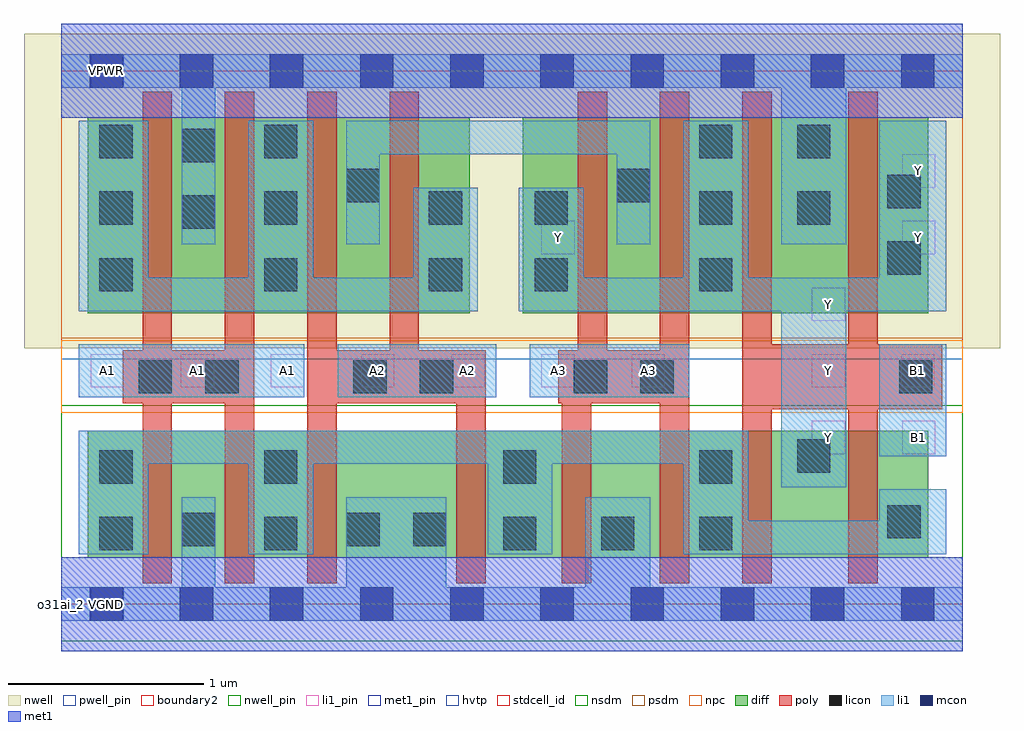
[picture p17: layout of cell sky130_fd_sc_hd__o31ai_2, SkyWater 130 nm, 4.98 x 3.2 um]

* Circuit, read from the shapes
.subckt sky130_fd_sc_hd__o31ai_2 A1 A2 A3 B1 VGND VNB VPB VPWR Y
XM1 VGND A1 n1 VNB sky130_fd_pr__nfet_01v8 w=0.65 l=0.15 m=2
XM2 VGND A2 n1 VNB sky130_fd_pr__nfet_01v8 w=0.65 l=0.15 m=2
XM3 VGND A3 n1 VNB sky130_fd_pr__nfet_01v8 w=0.65 l=0.15 m=2
XM4 Y B1 n1 VNB sky130_fd_pr__nfet_01v8 w=0.65 l=0.15 m=2
XM5 VPWR A1 n2 VPB sky130_fd_pr__pfet_01v8_hvt w=1 l=0.15 m=2
XM6 n3 A2 n2 VPB sky130_fd_pr__pfet_01v8_hvt w=1 l=0.15 m=2
XM7 n3 A3 Y VPB sky130_fd_pr__pfet_01v8_hvt w=1 l=0.15 m=2
XM8 VPWR B1 Y VPB sky130_fd_pr__pfet_01v8_hvt w=1 l=0.15 m=2
.ends

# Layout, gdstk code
import gdstk
lib = gdstk.Library(unit=1e-6, precision=1e-09)
def R(c, l, rs):  # rectangles x0, y0, x1, y1
    for r in rs: c.add(gdstk.rectangle(r[:2], r[2:], *l))
def A(c, l, x, y, w, h, nx, ny, dx, dy):  # array of equal rectangles
    R(c, l, [(x+i*dx, y+j*dy, x+i*dx+w, y+j*dy+h) for i in range(nx) for j in range(ny)])
def P(c, l, *ps):  # polygons
    for p in ps: c.add(gdstk.Polygon(p, *l))
nwell_pin = (64, 16)
nwell = (64, 20)
diff = (65, 20)
poly = (66, 20)
licon = (66, 44)
li1_pin = (67, 16)
li1 = (67, 20)
mcon = (67, 44)
met1_pin = (68, 16)
met1 = (68, 20)
hvtp = (78, 44)
stdcell_id = (81, 4)
nsdm = (93, 44)
psdm = (94, 20)
npc = (95, 20)
pwell_pin = (122, 16)
boundary2 = (236, 0)

sky130_fd_sc_hd__o31ai_2 = lib.new_cell('sky130_fd_sc_hd__o31ai_2')
R(sky130_fd_sc_hd__o31ai_2, nwell_pin, [(0.15,2.635,0.32,2.805)])
R(sky130_fd_sc_hd__o31ai_2, nwell, [(-0.19,1.305,4.79,2.91)])
R(sky130_fd_sc_hd__o31ai_2, diff, [(0.135,0.235,4.425,0.885), (0.135,1.485,2.085,2.485), (2.355,1.485,4.425,2.485)])
P(sky130_fd_sc_hd__o31ai_2, poly, [(3.475,0.105),(3.475,2.615),(3.625,2.615),(3.625,1.325),(4.015,1.325),(4.015,2.615),(4.165,2.615),(4.165,1.325),(4.495,1.325),(4.495,0.995),(4.165,0.995),(4.165,0.105),(4.015,0.105),(4.015,0.995),(3.625,0.995),(3.625,0.105)],
  [(2.555,0.105),(2.555,1.025),(2.535,1.025),(2.535,1.295),(2.635,1.295),(2.635,2.615),(2.785,2.615),(2.785,1.295),(3.055,1.295),(3.055,2.615),(3.205,2.615),(3.205,0.105),(3.055,0.105),(3.055,1.025),(2.705,1.025),(2.705,0.105)],
  [(1.255,0.105),(1.255,2.615),(1.405,2.615),(1.405,1.295),(1.675,1.295),(1.675,2.615),(1.825,2.615),(1.825,1.295),(2.165,1.295),(2.165,0.105),(2.015,0.105),(2.015,1.025),(1.405,1.025),(1.405,0.105)],
  [(0.415,0.105),(0.415,1.025),(0.315,1.025),(0.315,1.295),(0.415,1.295),(0.415,2.615),(0.565,2.615),(0.565,1.295),(0.835,1.295),(0.835,2.615),(0.985,2.615),(0.985,0.105),(0.835,0.105),(0.835,1.025),(0.565,1.025),(0.565,0.105)])
A(sky130_fd_sc_hd__o31ai_2, licon, 2.255, 0.275, 0.17, 0.17, 3, 1, 0.5, 0)
A(sky130_fd_sc_hd__o31ai_2, licon, 0.195, 1.595, 0.17, 0.17, 3, 2, 0.84, 0.34)
A(sky130_fd_sc_hd__o31ai_2, licon, 3.255, 1.595, 0.17, 0.17, 1, 3, 0, 0.34)
R(sky130_fd_sc_hd__o31ai_2, licon, [(0.195,0.275,0.365,0.445), (1.035,0.275,1.205,0.445), (0.615,0.295,0.785,0.465), (1.455,0.295,1.625,0.465), (1.795,0.295,1.965,0.465), (4.215,0.335,4.385,0.505), (0.195,0.615,0.365,0.785), (1.035,0.615,1.205,0.785), (2.255,0.615,2.425,0.785), (3.255,0.615,3.425,0.785), (3.755,0.67,3.925,0.84), (0.395,1.075,0.565,1.245), (0.735,1.075,0.905,1.245), (1.49,1.075,1.66,1.245), (1.83,1.075,2,1.245), (2.615,1.075,2.785,1.245), (2.955,1.075,3.125,1.245), (4.275,1.075,4.445,1.245), (2.415,1.595,2.585,1.765), (4.215,1.68,4.385,1.85), (0.615,1.915,0.785,2.085), (2.415,1.935,2.585,2.105), (3.755,1.935,3.925,2.105), (4.215,2.02,4.385,2.19), (1.455,2.05,1.625,2.22), (2.835,2.05,3.005,2.22), (0.615,2.255,0.785,2.425), (0.195,2.275,0.365,2.445), (1.035,2.275,1.205,2.445), (3.755,2.275,3.925,2.445)])
A(sky130_fd_sc_hd__o31ai_2, li1_pin, 3.83, 0.765, 0.17, 0.17, 1, 3, 0, 0.34)
A(sky130_fd_sc_hd__o31ai_2, li1_pin, 0.15, 1.105, 0.17, 0.17, 7, 1, 0.46, 0)
R(sky130_fd_sc_hd__o31ai_2, li1_pin, [(4.29,0.765,4.46,0.935), (4.285,1.105,4.455,1.275), (2.45,1.785,2.62,1.955), (4.29,1.785,4.46,1.955), (4.29,2.125,4.46,2.295)])
R(sky130_fd_sc_hd__o31ai_2, li1, [(4.175,0.755,4.515,1.325), (0.09,1.055,1.24,1.325), (1.41,1.055,2.22,1.325), (2.39,1.055,3.205,1.325)])
P(sky130_fd_sc_hd__o31ai_2, li1, [(3.675,0.595),(3.675,1.495),(2.335,1.495),(2.335,2.125),(2.665,2.125),(2.665,1.665),(3.175,1.665),(3.175,2.465),(3.505,2.465),(3.505,1.665),(4.175,1.665),(4.175,2.465),(4.515,2.465),(4.515,1.495),(4.005,1.495),(4.005,0.595)],
  [(0.615,1.835),(0.615,2.635),(0,2.635),(0,2.805),(4.6,2.805),(4.6,2.635),(4.005,2.635),(4.005,1.835),(3.675,1.835),(3.675,2.635),(0.785,2.635),(0.785,1.835)],
  [(0.09,0.255),(0.09,0.885),(3.505,0.885),(3.505,0.425),(4.175,0.425),(4.175,0.585),(4.515,0.585),(4.515,0.255),(3.175,0.255),(3.175,0.715),(2.505,0.715),(2.505,0.255),(2.175,0.255),(2.175,0.715),(1.285,0.715),(1.285,0.255),(0.955,0.255),(0.955,0.715),(0.445,0.715),(0.445,0.255)],
  [(0,-0.085),(0,0.085),(0.615,0.085),(0.615,0.545),(0.785,0.545),(0.785,0.085),(1.455,0.085),(1.455,0.545),(1.965,0.545),(1.965,0.085),(2.675,0.085),(2.675,0.545),(3.005,0.545),(3.005,0.085),(4.6,0.085),(4.6,-0.085)],
  [(0.09,1.495),(0.09,2.465),(0.445,2.465),(0.445,1.665),(0.955,1.665),(0.955,2.465),(1.285,2.465),(1.285,1.665),(1.795,1.665),(1.795,2.125),(2.125,2.125),(2.125,1.495)],
  [(1.455,1.835),(1.455,2.465),(3.005,2.465),(3.005,1.835),(2.835,1.835),(2.835,2.295),(1.625,2.295),(1.625,1.835)])
A(sky130_fd_sc_hd__o31ai_2, mcon, 0.145, -0.085, 0.17, 0.17, 10, 2, 0.46, 2.72)
R(sky130_fd_sc_hd__o31ai_2, met1_pin, [(0.15,-0.085,0.32,0.085), (0.15,2.635,0.32,2.805)])
R(sky130_fd_sc_hd__o31ai_2, hvtp, [(0,1.25,4.6,2.72)])
R(sky130_fd_sc_hd__o31ai_2, stdcell_id, [(0,0,4.6,2.72)])
R(sky130_fd_sc_hd__o31ai_2, nsdm, [(0,-0.19,4.6,1.015)])
R(sky130_fd_sc_hd__o31ai_2, psdm, [(0,1.355,4.6,2.91)])
R(sky130_fd_sc_hd__o31ai_2, npc, [(0,0.975,4.6,1.345)])
R(sky130_fd_sc_hd__o31ai_2, pwell_pin, [(0.15,-0.085,0.32,0.085)])
R(sky130_fd_sc_hd__o31ai_2, boundary2, [(0,0,4.6,2.72)])
sky130_fd_sc_hd__o31ai_2.add(gdstk.FlexPath([(0,2.72),(4.6,2.72)], 0.48, ends="flush", simple_path=True, layer=68, datatype=20))  # met1
sky130_fd_sc_hd__o31ai_2.add(gdstk.FlexPath([(0,0),(4.6,0)], 0.48, ends="flush", simple_path=True, layer=68, datatype=20))  # met1
sky130_fd_sc_hd__o31ai_2.add(gdstk.Label('A1', (0.695,1.19), layer=67, texttype=5))
sky130_fd_sc_hd__o31ai_2.add(gdstk.Label('A1', (0.235,1.19), layer=67, texttype=5))
sky130_fd_sc_hd__o31ai_2.add(gdstk.Label('Y', (4.375,2.21), layer=67, texttype=5))
sky130_fd_sc_hd__o31ai_2.add(gdstk.Label('Y', (3.915,1.53), layer=67, texttype=5))
sky130_fd_sc_hd__o31ai_2.add(gdstk.Label('Y', (3.915,1.19), layer=67, texttype=5))
sky130_fd_sc_hd__o31ai_2.add(gdstk.Label('Y', (2.535,1.87), layer=67, texttype=5))
sky130_fd_sc_hd__o31ai_2.add(gdstk.Label('Y', (4.375,1.87), layer=67, texttype=5))
sky130_fd_sc_hd__o31ai_2.add(gdstk.Label('Y', (3.915,0.85), layer=67, texttype=5))
sky130_fd_sc_hd__o31ai_2.add(gdstk.Label('B1', (4.375,0.85), layer=67, texttype=5))
sky130_fd_sc_hd__o31ai_2.add(gdstk.Label('B1', (4.37,1.19), layer=67, texttype=5))
sky130_fd_sc_hd__o31ai_2.add(gdstk.Label('A3', (2.995,1.19), layer=67, texttype=5))
sky130_fd_sc_hd__o31ai_2.add(gdstk.Label('A3', (2.535,1.19), layer=67, texttype=5))
sky130_fd_sc_hd__o31ai_2.add(gdstk.Label('A2', (2.075,1.19), layer=67, texttype=5))
sky130_fd_sc_hd__o31ai_2.add(gdstk.Label('A2', (1.615,1.19), layer=67, texttype=5))
sky130_fd_sc_hd__o31ai_2.add(gdstk.Label('A1', (1.155,1.19), layer=67, texttype=5))
sky130_fd_sc_hd__o31ai_2.add(gdstk.Label('VGND', (0.23,0), layer=68, texttype=5))
sky130_fd_sc_hd__o31ai_2.add(gdstk.Label('VPWR', (0.23,2.72), layer=68, texttype=5))
sky130_fd_sc_hd__o31ai_2.add(gdstk.Label('VPB', (0.235,2.72), layer=64, texttype=5))
sky130_fd_sc_hd__o31ai_2.add(gdstk.Label('VNB', (0.235,0), layer=64, texttype=59))
sky130_fd_sc_hd__o31ai_2.add(gdstk.Label('o31ai_2', (0,0), layer=83, texttype=44))

lib.write_gds('sky130_fd_sc_hd__o31ai_2.gds')
